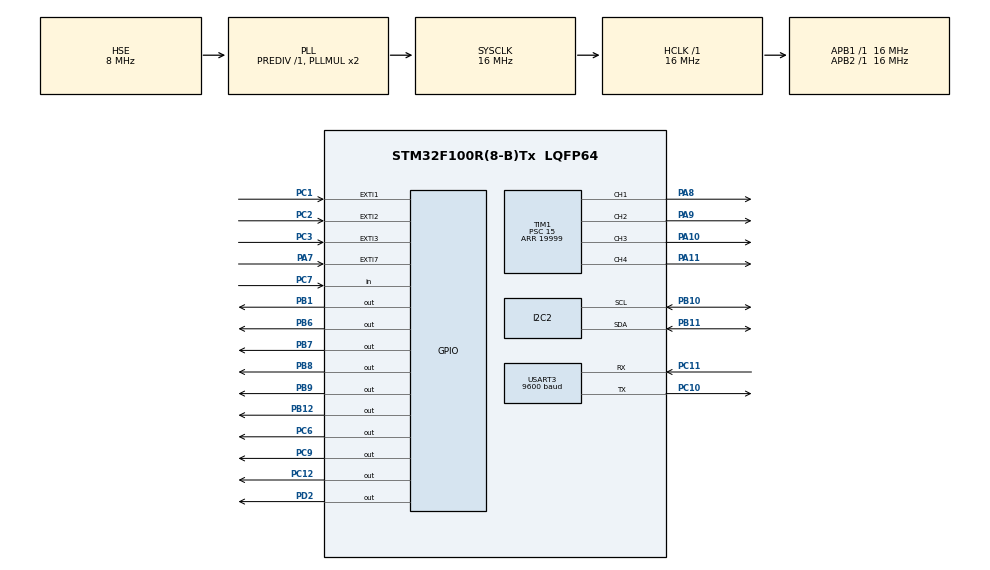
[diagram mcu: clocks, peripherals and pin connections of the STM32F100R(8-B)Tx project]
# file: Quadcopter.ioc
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Dma.Request0=USART3_TX
Dma.USART3_TX.0.Direction=DMA_MEMORY_TO_PERIPH
Dma.USART3_TX.0.Instance=DMA1_Channel2
Dma.USART3_TX.0.MemDataAlignment=DMA_MDATAALIGN_BYTE
Dma.USART3_TX.0.MemInc=DMA_MINC_ENABLE
Dma.USART3_TX.0.Mode=DMA_NORMAL
Dma.USART3_TX.0.PeriphDataAlignment=DMA_PDATAALIGN_BYTE
Dma.USART3_TX.0.PeriphInc=DMA_PINC_DISABLE
Dma.USART3_TX.0.Priority=DMA_PRIORITY_LOW
I2C2.DutyCycle=I2C_DUTYCYCLE_2
I2C2.I2C_Mode=I2C_Fast
I2C2.NoStretchMode=I2C_NOSTRETCH_DISABLED
Mcu.Family=STM32F1
Mcu.Name=STM32F100R(8-B)Tx
Mcu.Package=LQFP64
Mcu.UserConstants=DBGMCU_CR_DBG_TIM6_STOP,0x00080000
NVIC.DMA1_Channel2_IRQn=true\:0\:0\:false
NVIC.EXTI1_IRQn=true\:0\:0\:false
NVIC.EXTI2_IRQn=true\:0\:0\:false
NVIC.EXTI3_IRQn=true\:0\:0\:false
NVIC.EXTI9_5_IRQn=true\:0\:0\:false
NVIC.PriorityGroup=NVIC_PRIORITYGROUP_4
NVIC.TIM6_DAC_IRQn=true\:0\:0\:false
NVIC.USART3_IRQn=true\:0\:0\:false
PA10.Signal=S_TIM1_CH3
PA11.Signal=S_TIM1_CH4
PA13.Mode=JTAG_4_pin
PA13.Signal=SYS_JTMS-SWDIO
PA14.Mode=JTAG_4_pin
PA14.Signal=SYS_JTCK-SWCLK
PA15.Mode=JTAG_4_pin
PA15.Signal=SYS_JTDI
PA7.GPIO_PuPd=GPIO_PULLDOWN
PA7.Signal=GPXTI7
PA8.Signal=S_TIM1_CH1
PA9.Signal=S_TIM1_CH2
PB1.Signal=GPIO_Output
PB10.Mode=I2C
PB10.Signal=I2C2_SCL
PB11.Mode=I2C
PB11.Signal=I2C2_SDA
PB12.Signal=GPIO_Output
PB3.Mode=JTAG_4_pin
PB3.Signal=SYS_JTDO-TRACESWO
PB6.Signal=GPIO_Output
PB7.Signal=GPIO_Output
PB8.Signal=GPIO_Output
PB9.Signal=GPIO_Output
PC1.GPIO_PuPd=GPIO_PULLDOWN
PC1.Signal=GPXTI1
PC10.Mode=Asynchronous
PC10.Signal=USART3_TX
PC11.GPIO_PuPd=GPIO_PULLUP
PC11.Mode=Asynchronous
PC11.Signal=USART3_RX
PC12.Signal=GPIO_Output
PC2.GPIO_PuPd=GPIO_PULLDOWN
PC2.Signal=GPXTI2
PC3.GPIO_PuPd=GPIO_PULLDOWN
PC3.Signal=GPXTI3
PC6.Signal=GPIO_Output
PC7.GPIO_PuPd=GPIO_PULLDOWN
PC7.Signal=GPIO_Input
PC9.Signal=GPIO_Output
PD0-OSC_IN.Mode=HSE-External-Oscillator
PD0-OSC_IN.Signal=RCC_OSC_IN
PD1-OSC_OUT.Mode=HSE-External-Oscillator
PD1-OSC_OUT.Signal=RCC_OSC_OUT
PD2.Signal=GPIO_Output
ProjectManager.TargetToolchain=EWARM
RCC.AHBFreq_Value=16000000
RCC.APB1Freq_Value=16000000
RCC.APB1TimFreq_Value=16000000
RCC.APB2Freq_Value=16000000
RCC.APB2TimFreq_Value=16000000
RCC.HCLKFreq_Value=16000000
RCC.PLLSource=RCC_PLLSOURCE_HSE
RCC.SYSCLKFreq_VALUE=16000000
RCC.SYSCLKSource=RCC_SYSCLKSOURCE_PLLCLK
SH.S_TIM1_CH1.0=TIM1_CH1,PWM Generation1 CH1
SH.S_TIM1_CH2.0=TIM1_CH2,PWM Generation2 CH2
SH.S_TIM1_CH3.0=TIM1_CH3,PWM Generation3 CH3
SH.S_TIM1_CH4.0=TIM1_CH4,PWM Generation4 CH4
TIM1.Channel-PWM\ Generation2\ CH2=TIM_CHANNEL_2
TIM1.Channel-PWM\ Generation3\ CH3=TIM_CHANNEL_3
TIM1.Channel-PWM\ Generation4\ CH4=TIM_CHANNEL_4
TIM1.Period=19999
TIM1.Prescaler=15
TIM1.Pulse-PWM\ Generation2\ CH2=999
TIM6.Period=65535
TIM7.Period=65000
USART3.BaudRate=9600
VP_TIM1_VS_ClockSourceINT.Mode=Internal
VP_TIM6_VS_ClockSourceINT.Mode=Enable_Timer
VP_TIM7_VS_ClockSourceINT.Mode=Enable_Timer
board=Quadcopter

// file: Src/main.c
/**
  ******************************************************************************
  * File Name          : main.c
  * Description        : Main program body
  ******************************************************************************
  *
  * COPYRIGHT(c) 2016 STMicroelectronics
  *
  * Redistribution and use in source and binary forms, with or without modification,
  * are permitted provided that the following conditions are met:
  *   1. Redistributions of source code must retain the above copyright notice,
  *      this list of conditions and the following disclaimer.
  *   2. Redistributions in binary form must reproduce the above copyright notice,
  *      this list of conditions and the following disclaimer in the documentation
  *      and/or other materials provided with the distribution.
  *   3. Neither the name of STMicroelectronics nor the names of its contributors
  *      may be used to endorse or promote products derived from this software
  *      without specific prior written permission.
  *
  * THIS SOFTWARE IS PROVIDED BY THE COPYRIGHT HOLDERS AND CONTRIBUTORS "AS IS"
  * AND ANY EXPRESS OR IMPLIED WARRANTIES, INCLUDING, BUT NOT LIMITED TO, THE
  * IMPLIED WARRANTIES OF MERCHANTABILITY AND FITNESS FOR A PARTICULAR PURPOSE ARE
  * DISCLAIMED. IN NO EVENT SHALL THE COPYRIGHT HOLDER OR CONTRIBUTORS BE LIABLE
  * FOR ANY DIRECT, INDIRECT, INCIDENTAL, SPECIAL, EXEMPLARY, OR CONSEQUENTIAL
  * DAMAGES (INCLUDING, BUT NOT LIMITED TO, PROCUREMENT OF SUBSTITUTE GOODS OR
  * SERVICES; LOSS OF USE, DATA, OR PROFITS; OR BUSINESS INTERRUPTION) HOWEVER
  * CAUSED AND ON ANY THEORY OF LIABILITY, WHETHER IN CONTRACT, STRICT LIABILITY,
  * OR TORT (INCLUDING NEGLIGENCE OR OTHERWISE) ARISING IN ANY WAY OUT OF THE USE
  * OF THIS SOFTWARE, EVEN IF ADVISED OF THE POSSIBILITY OF SUCH DAMAGE.
  *
  ******************************************************************************
  */
#include "stm32f1xx_hal.h"

/* USER CODE BEGIN Includes */

#include <stdio.h>
#include "hd44780.h"
#include "math.h"
#include "MPU6050.h"

#define CPU_CLOCK 16000000U

/* USER CODE END Includes */

I2C_HandleTypeDef hi2c2;

TIM_HandleTypeDef htim1;
TIM_HandleTypeDef htim6;
TIM_HandleTypeDef htim7;

UART_HandleTypeDef huart3;
DMA_HandleTypeDef hdma_usart3_tx;

/* USER CODE BEGIN PV */
/* Private variables ---------------------------------------------------------*/
struct imu
{
    uint8_t accelAddr;
    uint8_t gyroAddr;
    uint8_t gyroData[6];
    uint8_t accelData[6];
    double accelAngles[3];
    double gyroAngles[3];
    double accel[3];
    double gyro[3];
    double lastGyro[3];
    double interval;
    double result[3];
};
typedef struct imu IMU;

uint8_t IMUTimerOverflowCounter = 0;
IMU imu;

/*
uint16_t times[2000];
uint16_t timesIndex = 0;

extern uint16_t times[2000];
extern uint16_t timesIndex;
extern TIM_HandleTypeDef htim7;

HAL_TIM_Base_Start(&htim7);

HAL_TIM_Base_Stop(&htim7);
times[timesIndex++] = (uint16_t)htim7.Instance->CNT;
htim7.Instance->CNT = 0;
if (timesIndex > 1999)
{
    timesIndex = 0;
}
*/

/* USER CODE END PV */

void SystemClock_Config(void);
static void MX_GPIO_Init(void);
static void MX_DMA_Init(void);
static void MX_I2C2_Init(void);
static void MX_TIM1_Init(void);
static void MX_TIM6_Init(void);
static void MX_TIM7_Init(void);
static void MX_USART3_UART_Init(void);

/* USER CODE BEGIN PFP */
/* Private function prototypes -----------------------------------------------*/
void updateIMUAngles(void);

/* USER CODE END PFP */

/* USER CODE BEGIN 0 */
void updateIMUAngles(void)
{
    // Get accel and gyro data.
    HAL_I2C_Master_Transmit(&hi2c2, MPU6050_W, &imu.gyroAddr, 1, 10);
    HAL_I2C_Master_Receive(&hi2c2, MPU6050_R, imu.gyroData, 6, 10);
    HAL_I2C_Master_Transmit(&hi2c2, MPU6050_W, &imu.accelAddr, 1, 10);
    HAL_I2C_Master_Receive(&hi2c2, MPU6050_R, imu.accelData, 6, 10);
    #define WORD(x, y) (int16_t)((x << 8) | (y & 0xff))
    imu.accel[0] = WORD(imu.accelData[0], imu.accelData[1]);
    imu.accel[1] = WORD(imu.accelData[2], imu.accelData[3]);
    imu.accel[2] = WORD(imu.accelData[4], imu.accelData[5]);
    imu.gyro[0] = WORD(imu.gyroData[2], imu.gyroData[3]) / MPU6050_GYRO_LSB_3;
    imu.gyro[1] = WORD(imu.gyroData[0], imu.gyroData[1]) / MPU6050_GYRO_LSB_3;

    // Get accel angles.
    #define M_RAD 57.295779513082320876798154814105 // 180deg / pi
    imu.accelAngles[0] = M_RAD * atan(imu.accel[0] / sqrt(pow(imu.accel[1], 2) + pow(imu.accel[2], 2))) * -1;
    imu.accelAngles[1] = M_RAD * atan(imu.accel[1] / sqrt(pow(imu.accel[0], 2) + pow(imu.accel[2], 2)));

    // Get gyro angles.
    imu.interval = ((uint16_t)htim6.Instance->CNT + IMUTimerOverflowCounter * 65536) / (double)CPU_CLOCK;
    htim6.Instance->CNT = 0;
    IMUTimerOverflowCounter = 0;
    for (uint8_t i = 0; i < 2; i++)
    {
        imu.result[i] = isnan(imu.result[i]) ? 0 : imu.result[i];
        imu.gyroAngles[i] = imu.result[i] + (imu.gyro[i] + imu.lastGyro[i]) * (imu.interval / 2.0);
        imu.lastGyro[i] = imu.gyro[i];
    }

    // Get complementary filter.
    #define COMPLEMENTARY_FILTER_K 0.995
    imu.result[0] = (1.0 - COMPLEMENTARY_FILTER_K) * imu.accelAngles[0] + imu.gyroAngles[0] * COMPLEMENTARY_FILTER_K;
    imu.result[1] = (1.0 - COMPLEMENTARY_FILTER_K) * imu.accelAngles[1] + imu.gyroAngles[1] * COMPLEMENTARY_FILTER_K;
}

/* Interrupt handlers --------------------------------------------------------*/
void HAL_TIM_PeriodElapsedCallback(TIM_HandleTypeDef *htim6)
{
  IMUTimerOverflowCounter++;
}
/* USER CODE END 0 */

int main(void)
{

  /* MCU Configuration----------------------------------------------------------*/

  /* Reset of all peripherals, Initializes the Flash interface and the Systick. */
  HAL_Init();

  /* Configure the system clock */
  SystemClock_Config();

  /* Initialize all configured peripherals */
  MX_GPIO_Init();
  MX_DMA_Init();
  MX_I2C2_Init();
  MX_TIM1_Init();
  MX_TIM6_Init();
  MX_TIM7_Init();
  MX_USART3_UART_Init();

  /* USER CODE BEGIN 2 */
  InitMPU6050(&hi2c2);
  lcd_init();

  imu.accelAddr = MPU6050_RA_ACCEL_XOUT_H;
  imu.gyroAddr = MPU6050_RA_GYRO_XOUT_H;
  imu.lastGyro[0] = 0;
  imu.lastGyro[1] = 0;

  lcd_goto(1, 0);
  lcd_puts("Hello");

  HAL_GPIO_WritePin(GPIOB, GPIO_PIN_1, GPIO_PIN_SET);
  HAL_TIM_PWM_Start(&htim1, TIM_CHANNEL_1);

  uint8_t str[13];

  __HAL_DBGMCU_FREEZE_TIM6();
  HAL_TIM_Base_Start_IT(&htim6);
  /* USER CODE END 2 */

  /* Infinite loop */
  while (1)
  {

  /* USER CODE BEGIN 3 */
    updateIMUAngles();
    /*sprintf(str, "%+06.2f,%+06.2f", imu.result[0], imu.accelAngles[0]);
    HAL_UART_Transmit(&huart3, str, 13, 5);
    HAL_UART_Transmit(&huart3, "\n", 1, 1);*/
    sprintf(str, "%+06.2f %+06.2f", imu.result[0], imu.result[1]);
    lcd_goto(1, 0);
    lcd_puts(str);
  }
  /* USER CODE END 3 */

}

/** System Clock Configuration
*/
void SystemClock_Config(void)
{

  RCC_OscInitTypeDef RCC_OscInitStruct;
  RCC_ClkInitTypeDef RCC_ClkInitStruct;

  RCC_OscInitStruct.OscillatorType = RCC_OSCILLATORTYPE_HSE;
  RCC_OscInitStruct.HSEState = RCC_HSE_ON;
  RCC_OscInitStruct.HSEPredivValue = RCC_HSE_PREDIV_DIV1;
  RCC_OscInitStruct.PLL.PLLState = RCC_PLL_ON;
  RCC_OscInitStruct.PLL.PLLSource = RCC_PLLSOURCE_HSE;
  RCC_OscInitStruct.PLL.PLLMUL = RCC_PLL_MUL2;
  HAL_RCC_OscConfig(&RCC_OscInitStruct);

  RCC_ClkInitStruct.ClockType = RCC_CLOCKTYPE_SYSCLK;
  RCC_ClkInitStruct.SYSCLKSource = RCC_SYSCLKSOURCE_PLLCLK;
  RCC_ClkInitStruct.AHBCLKDivider = RCC_SYSCLK_DIV1;
  RCC_ClkInitStruct.APB1CLKDivider = RCC_HCLK_DIV1;
  RCC_ClkInitStruct.APB2CLKDivider = RCC_HCLK_DIV1;
  HAL_RCC_ClockConfig(&RCC_ClkInitStruct, FLASH_LATENCY_0);

  HAL_SYSTICK_Config(HAL_RCC_GetHCLKFreq()/1000);

  HAL_SYSTICK_CLKSourceConfig(SYSTICK_CLKSOURCE_HCLK);

  /* SysTick_IRQn interrupt configuration */
  HAL_NVIC_SetPriority(SysTick_IRQn, 0, 0);
}

/* I2C2 init function */
void MX_I2C2_Init(void)
{

  hi2c2.Instance = I2C2;
  hi2c2.Init.ClockSpeed = 400000;
  hi2c2.Init.DutyCycle = I2C_DUTYCYCLE_2;
  hi2c2.Init.OwnAddress1 = 0;
  hi2c2.Init.AddressingMode = I2C_ADDRESSINGMODE_7BIT;
  hi2c2.Init.DualAddressMode = I2C_DUALADDRESS_DISABLED;
  hi2c2.Init.OwnAddress2 = 0;
  hi2c2.Init.GeneralCallMode = I2C_GENERALCALL_DISABLED;
  hi2c2.Init.NoStretchMode = I2C_NOSTRETCH_DISABLED;
  HAL_I2C_Init(&hi2c2);

}

/* TIM1 init function */
void MX_TIM1_Init(void)
{

  TIM_ClockConfigTypeDef sClockSourceConfig;
  TIM_MasterConfigTypeDef sMasterConfig;
  TIM_BreakDeadTimeConfigTypeDef sBreakDeadTimeConfig;
  TIM_OC_InitTypeDef sConfigOC;

  htim1.Instance = TIM1;
  htim1.Init.Prescaler = 15;
  htim1.Init.CounterMode = TIM_COUNTERMODE_UP;
  htim1.Init.Period = 19999;
  htim1.Init.ClockDivision = TIM_CLOCKDIVISION_DIV1;
  htim1.Init.RepetitionCounter = 0;
  HAL_TIM_Base_Init(&htim1);

  sClockSourceConfig.ClockSource = TIM_CLOCKSOURCE_INTERNAL;
  HAL_TIM_ConfigClockSource(&htim1, &sClockSourceConfig);

  HAL_TIM_PWM_Init(&htim1);

  sMasterConfig.MasterOutputTrigger = TIM_TRGO_RESET;
  sMasterConfig.MasterSlaveMode = TIM_MASTERSLAVEMODE_DISABLE;
  HAL_TIMEx_MasterConfigSynchronization(&htim1, &sMasterConfig);

  sBreakDeadTimeConfig.OffStateRunMode = TIM_OSSR_DISABLE;
  sBreakDeadTimeConfig.OffStateIDLEMode = TIM_OSSI_DISABLE;
  sBreakDeadTimeConfig.LockLevel = TIM_LOCKLEVEL_OFF;
  sBreakDeadTimeConfig.DeadTime = 0;
  sBreakDeadTimeConfig.BreakState = TIM_BREAK_DISABLE;
  sBreakDeadTimeConfig.BreakPolarity = TIM_BREAKPOLARITY_HIGH;
  sBreakDeadTimeConfig.AutomaticOutput = TIM_AUTOMATICOUTPUT_DISABLE;
  HAL_TIMEx_ConfigBreakDeadTime(&htim1, &sBreakDeadTimeConfig);

  sConfigOC.OCMode = TIM_OCMODE_PWM1;
  sConfigOC.Pulse = 0;
  sConfigOC.OCPolarity = TIM_OCPOLARITY_HIGH;
  sConfigOC.OCNPolarity = TIM_OCNPOLARITY_HIGH;
  sConfigOC.OCFastMode = TIM_OCFAST_DISABLE;
  sConfigOC.OCIdleState = TIM_OCIDLESTATE_RESET;
  sConfigOC.OCNIdleState = TIM_OCNIDLESTATE_RESET;
  HAL_TIM_PWM_ConfigChannel(&htim1, &sConfigOC, TIM_CHANNEL_1);

  sConfigOC.Pulse = 999;
  HAL_TIM_PWM_ConfigChannel(&htim1, &sConfigOC, TIM_CHANNEL_2);

  sConfigOC.Pulse = 0;
  HAL_TIM_PWM_ConfigChannel(&htim1, &sConfigOC, TIM_CHANNEL_3);

  HAL_TIM_PWM_ConfigChannel(&htim1, &sConfigOC, TIM_CHANNEL_4);

}

/* TIM6 init function */
void MX_TIM6_Init(void)
{

  TIM_MasterConfigTypeDef sMasterConfig;

  htim6.Instance = TIM6;
  htim6.Init.Prescaler = 0;
  htim6.Init.CounterMode = TIM_COUNTERMODE_UP;
  htim6.Init.Period = 65535;
  HAL_TIM_Base_Init(&htim6);

  sMasterConfig.MasterOutputTrigger = TIM_TRGO_RESET;
  sMasterConfig.MasterSlaveMode = TIM_MASTERSLAVEMODE_DISABLE;
  HAL_TIMEx_MasterConfigSynchronization(&htim6, &sMasterConfig);

}

/* TIM7 init function */
void MX_TIM7_Init(void)
{

  TIM_MasterConfigTypeDef sMasterConfig;

  htim7.Instance = TIM7;
  htim7.Init.Prescaler = 0;
  htim7.Init.CounterMode = TIM_COUNTERMODE_UP;
  htim7.Init.Period = 65000;
  HAL_TIM_Base_Init(&htim7);

  sMasterConfig.MasterOutputTrigger = TIM_TRGO_RESET;
  sMasterConfig.MasterSlaveMode = TIM_MASTERSLAVEMODE_DISABLE;
  HAL_TIMEx_MasterConfigSynchronization(&htim7, &sMasterConfig);

}

/* USART3 init function */
void MX_USART3_UART_Init(void)
{

  huart3.Instance = USART3;
  huart3.Init.BaudRate = 9600;
  huart3.Init.WordLength = UART_WORDLENGTH_8B;
  huart3.Init.StopBits = UART_STOPBITS_1;
  huart3.Init.Parity = UART_PARITY_NONE;
  huart3.Init.Mode = UART_MODE_TX_RX;
  huart3.Init.HwFlowCtl = UART_HWCONTROL_NONE;
  huart3.Init.OverSampling = UART_OVERSAMPLING_16;
  HAL_UART_Init(&huart3);

}

void MX_DMA_Init(void)
{
  /* DMA controller clock enable */
  __HAL_RCC_DMA1_CLK_ENABLE();

  /* DMA interrupt init */
  HAL_NVIC_SetPriority(DMA1_Channel2_IRQn, 0, 0);
  HAL_NVIC_EnableIRQ(DMA1_Channel2_IRQn);

}

/** Configure pins as
        * Analog
        * Input
        * Output
        * EVENT_OUT
        * EXTI
*/
void MX_GPIO_Init(void)
{

  GPIO_InitTypeDef GPIO_InitStruct;

  /* GPIO Ports Clock Enable */
  __GPIOD_CLK_ENABLE();
  __GPIOC_CLK_ENABLE();
  __GPIOA_CLK_ENABLE();
  __GPIOB_CLK_ENABLE();

  /*Configure GPIO pins : PC1 PC2 PC3 */
  GPIO_InitStruct.Pin = GPIO_PIN_1|GPIO_PIN_2|GPIO_PIN_3;
  GPIO_InitStruct.Mode = GPIO_MODE_IT_RISING;
  GPIO_InitStruct.Pull = GPIO_PULLDOWN;
  HAL_GPIO_Init(GPIOC, &GPIO_InitStruct);

  /*Configure GPIO pin : PA7 */
  GPIO_InitStruct.Pin = GPIO_PIN_7;
  GPIO_InitStruct.Mode = GPIO_MODE_IT_RISING;
  GPIO_InitStruct.Pull = GPIO_PULLDOWN;
  HAL_GPIO_Init(GPIOA, &GPIO_InitStruct);

  /*Configure GPIO pins : PB1 PB12 PB6 PB7
                           PB8 PB9 */
  GPIO_InitStruct.Pin = GPIO_PIN_1|GPIO_PIN_12|GPIO_PIN_6|GPIO_PIN_7
                          |GPIO_PIN_8|GPIO_PIN_9;
  GPIO_InitStruct.Mode = GPIO_MODE_OUTPUT_PP;
  GPIO_InitStruct.Speed = GPIO_SPEED_LOW;
  HAL_GPIO_Init(GPIOB, &GPIO_InitStruct);

  /*Configure GPIO pins : PC6 PC9 PC12 */
  GPIO_InitStruct.Pin = GPIO_PIN_6|GPIO_PIN_9|GPIO_PIN_12;
  GPIO_InitStruct.Mode = GPIO_MODE_OUTPUT_PP;
  GPIO_InitStruct.Speed = GPIO_SPEED_LOW;
  HAL_GPIO_Init(GPIOC, &GPIO_InitStruct);

  /*Configure GPIO pin : PC7 */
  GPIO_InitStruct.Pin = GPIO_PIN_7;
  GPIO_InitStruct.Mode = GPIO_MODE_INPUT;
  GPIO_InitStruct.Pull = GPIO_PULLDOWN;
  HAL_GPIO_Init(GPIOC, &GPIO_InitStruct);

  /*Configure GPIO pin : PD2 */
  GPIO_InitStruct.Pin = GPIO_PIN_2;
  GPIO_InitStruct.Mode = GPIO_MODE_OUTPUT_PP;
  GPIO_InitStruct.Speed = GPIO_SPEED_LOW;
  HAL_GPIO_Init(GPIOD, &GPIO_InitStruct);

  /* EXTI interrupt init*/
  HAL_NVIC_SetPriority(EXTI1_IRQn, 0, 0);
  HAL_NVIC_EnableIRQ(EXTI1_IRQn);

  HAL_NVIC_SetPriority(EXTI2_IRQn, 0, 0);
  HAL_NVIC_EnableIRQ(EXTI2_IRQn);

  HAL_NVIC_SetPriority(EXTI3_IRQn, 0, 0);
  HAL_NVIC_EnableIRQ(EXTI3_IRQn);

  HAL_NVIC_SetPriority(EXTI9_5_IRQn, 0, 0);
  HAL_NVIC_EnableIRQ(EXTI9_5_IRQn);

}

/************************ (C) COPYRIGHT STMicroelectronics *****END OF FILE****/
